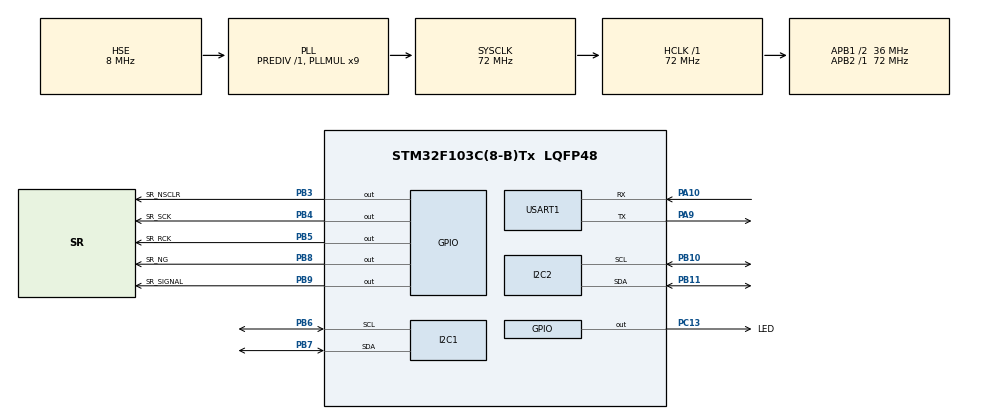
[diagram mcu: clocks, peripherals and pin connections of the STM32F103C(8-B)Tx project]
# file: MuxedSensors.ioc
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I2C2.I2C_Mode=I2C_Fast
Mcu.Family=STM32F1
Mcu.Name=STM32F103C(8-B)Tx
Mcu.Package=LQFP48
NVIC.PriorityGroup=NVIC_PRIORITYGROUP_4
PA10.Mode=Asynchronous
PA10.Signal=USART1_RX
PA13.Mode=Serial_Wire
PA13.Signal=SYS_JTMS-SWDIO
PA14.Mode=Serial_Wire
PA14.Signal=SYS_JTCK-SWCLK
PA9.Mode=Asynchronous
PA9.Signal=USART1_TX
PB10.Mode=I2C
PB10.Signal=I2C2_SCL
PB11.Mode=I2C
PB11.Signal=I2C2_SDA
PB3.GPIO_Label=SR_NSCLR
PB3.Signal=GPIO_Output
PB4.GPIO_Label=SR_SCK
PB4.Signal=GPIO_Output
PB5.GPIO_Label=SR_RCK
PB5.Signal=GPIO_Output
PB6.Mode=I2C
PB6.Signal=I2C1_SCL
PB7.Mode=I2C
PB7.Signal=I2C1_SDA
PB8.GPIO_Label=SR_NG
PB8.GPIO_Speed=GPIO_SPEED_FREQ_LOW
PB8.Signal=GPIO_Output
PB9.GPIO_Label=SR_SIGNAL
PB9.Signal=GPIO_Output
PC13-TAMPER-RTC.GPIO_Label=LED
PC13-TAMPER-RTC.Signal=GPIO_Output
PC14-OSC32_IN.Mode=LSE-External-Oscillator
PC14-OSC32_IN.Signal=RCC_OSC32_IN
PC15-OSC32_OUT.Mode=LSE-External-Oscillator
PC15-OSC32_OUT.Signal=RCC_OSC32_OUT
PD0-OSC_IN.Mode=HSE-External-Oscillator
PD0-OSC_IN.Signal=RCC_OSC_IN
PD1-OSC_OUT.Mode=HSE-External-Oscillator
PD1-OSC_OUT.Signal=RCC_OSC_OUT
ProjectManager.HeapSize=0x200
ProjectManager.StackSize=0x400
ProjectManager.TargetToolchain=TrueSTUDIO
RCC.AHBFreq_Value=72000000
RCC.APB1CLKDivider=RCC_HCLK_DIV2
RCC.APB1Freq_Value=36000000
RCC.APB1TimFreq_Value=72000000
RCC.APB2Freq_Value=72000000
RCC.APB2TimFreq_Value=72000000
RCC.HCLKFreq_Value=72000000
RCC.PLLMUL=RCC_PLL_MUL9
RCC.PLLSourceVirtual=RCC_PLLSOURCE_HSE
RCC.SYSCLKFreq_VALUE=72000000
RCC.SYSCLKSource=RCC_SYSCLKSOURCE_PLLCLK
RCC.USBFreq_Value=72000000
USART1.Parity=PARITY_EVEN
USART1.VirtualMode=VM_ASYNC
board=custom

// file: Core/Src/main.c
/* USER CODE BEGIN Header */
/**
  ******************************************************************************
  * @file           : main.c
  * @brief          : Main program body
  ******************************************************************************
  ** This notice applies to any and all portions of this file
  * that are not between comment pairs USER CODE BEGIN and
  * USER CODE END. Other portions of this file, whether
  * inserted by the user or by software development tools
  * are owned by their respective copyright owners.
  *
  * COPYRIGHT(c) 2019 STMicroelectronics
  *
  * Redistribution and use in source and binary forms, with or without modification,
  * are permitted provided that the following conditions are met:
  *   1. Redistributions of source code must retain the above copyright notice,
  *      this list of conditions and the following disclaimer.
  *   2. Redistributions in binary form must reproduce the above copyright notice,
  *      this list of conditions and the following disclaimer in the documentation
  *      and/or other materials provided with the distribution.
  *   3. Neither the name of STMicroelectronics nor the names of its contributors
  *      may be used to endorse or promote products derived from this software
  *      without specific prior written permission.
  *
  * THIS SOFTWARE IS PROVIDED BY THE COPYRIGHT HOLDERS AND CONTRIBUTORS "AS IS"
  * AND ANY EXPRESS OR IMPLIED WARRANTIES, INCLUDING, BUT NOT LIMITED TO, THE
  * IMPLIED WARRANTIES OF MERCHANTABILITY AND FITNESS FOR A PARTICULAR PURPOSE ARE
  * DISCLAIMED. IN NO EVENT SHALL THE COPYRIGHT HOLDER OR CONTRIBUTORS BE LIABLE
  * FOR ANY DIRECT, INDIRECT, INCIDENTAL, SPECIAL, EXEMPLARY, OR CONSEQUENTIAL
  * DAMAGES (INCLUDING, BUT NOT LIMITED TO, PROCUREMENT OF SUBSTITUTE GOODS OR
  * SERVICES; LOSS OF USE, DATA, OR PROFITS; OR BUSINESS INTERRUPTION) HOWEVER
  * CAUSED AND ON ANY THEORY OF LIABILITY, WHETHER IN CONTRACT, STRICT LIABILITY,
  * OR TORT (INCLUDING NEGLIGENCE OR OTHERWISE) ARISING IN ANY WAY OUT OF THE USE
  * OF THIS SOFTWARE, EVEN IF ADVISED OF THE POSSIBILITY OF SUCH DAMAGE.
  *
  ******************************************************************************
  */
/* USER CODE END Header */

#include "main.h"
#include "i2c.h"
#include "usart.h"
#include "gpio.h"

/* USER CODE BEGIN Includes */
#include "Magnet.h"
#include "MagConfig.h"
#include "magnetmath.h"
#include "linefollow.h"
/* USER CODE END Includes */

/* USER CODE BEGIN PV */
int strsum[6][20]; // array of the 20 most recent strength measurements
int k = 0; // counter
volatile float avgstr[6]; // the average magnetic field strength of the last 20 measurements
int table_index[6][2];
double Br = 0.75;
double magnet_height = 0.026;
double magnet_radius = 0.006;
double height_from_ground = 0.05;

double table[21][21][3];

int sensorcount = 6;

volatile double error_last = 0;
volatile double error_integ = 0;

double Kp = 0;
double Ki = 0;
double Kd = 0;
/* USER CODE END PV */

void SystemClock_Config(void);

int main(void)
{

  /* MCU Configuration--------------------------------------------------------*/

  /* Reset of all peripherals, Initializes the Flash interface and the Systick. */
  HAL_Init();

  /* Configure the system clock */
  SystemClock_Config();

  /* Initialize all configured peripherals */
  MX_GPIO_Init();
  MX_I2C2_Init();
  MX_USART1_UART_Init();
  MX_I2C1_Init();
  /* USER CODE BEGIN 2 */
  config();
  reset_background(field, bg, 100, sensorcount);
  CreateTable(table, height_from_ground, Br, magnet_radius, magnet_height);

  HAL_GPIO_WritePin(SR_NSCLR_GPIO_Port, SR_NSCLR_Pin, GPIO_PIN_SET);
  HAL_Delay(1);
  /* USER CODE END 2 */

  /* Infinite loop */
  while (1)
  {

	    /* USER CODE BEGIN 3 */
	  for(int i = 0; i < sensorcount; i++)
	  {
		  mag_read_value(field, i+1);
		  for(int j = 0; j < 3; j++)
		  {
		    if(field[i][j] > 65536 / 2) field[i][j] = field[i][j] - 65536; //by default, negative magnetic fields are represented as decreasing from maximum 16 bit number 65535
                                                                          //changes the representation of negative magnetic fields to negative values starting at zero
		    field[i][j] -= bg[i][j]; //accounts for the background magnetic fields
		  }
		  str[i] = make_unit_vectors(field[i], vect[i]); //creates array of directional unit vectors and outputs strength of magnetic field
		  strsum[i][k] = str[i]; //adds strength of magnetic field to array for average calculation
		  k++;
		  if(k >= 20) k = 0;
		  avgstr[i] = average(strsum[i], 20); //calculates the average of the most recent 20 field strength measurements
		  CompareSensorValue(Br, magnet_radius, magnet_height, field[i], table_index[i], table);
	  }
	  HAL_Delay(1);
  }
  /* USER CODE END 3 */
}

void SystemClock_Config(void)
{
  RCC_OscInitTypeDef RCC_OscInitStruct = {0};
  RCC_ClkInitTypeDef RCC_ClkInitStruct = {0};

  /**Initializes the CPU, AHB and APB busses clocks
  */
  RCC_OscInitStruct.OscillatorType = RCC_OSCILLATORTYPE_HSE;
  RCC_OscInitStruct.HSEState = RCC_HSE_ON;
  RCC_OscInitStruct.HSEPredivValue = RCC_HSE_PREDIV_DIV1;
  RCC_OscInitStruct.HSIState = RCC_HSI_ON;
  RCC_OscInitStruct.PLL.PLLState = RCC_PLL_ON;
  RCC_OscInitStruct.PLL.PLLSource = RCC_PLLSOURCE_HSE;
  RCC_OscInitStruct.PLL.PLLMUL = RCC_PLL_MUL9;
  if (HAL_RCC_OscConfig(&RCC_OscInitStruct) != HAL_OK)
  {
    Error_Handler();
  }
  /**Initializes the CPU, AHB and APB busses clocks
  */
  RCC_ClkInitStruct.ClockType = RCC_CLOCKTYPE_HCLK|RCC_CLOCKTYPE_SYSCLK
                              |RCC_CLOCKTYPE_PCLK1|RCC_CLOCKTYPE_PCLK2;
  RCC_ClkInitStruct.SYSCLKSource = RCC_SYSCLKSOURCE_PLLCLK;
  RCC_ClkInitStruct.AHBCLKDivider = RCC_SYSCLK_DIV1;
  RCC_ClkInitStruct.APB1CLKDivider = RCC_HCLK_DIV2;
  RCC_ClkInitStruct.APB2CLKDivider = RCC_HCLK_DIV1;

  if (HAL_RCC_ClockConfig(&RCC_ClkInitStruct, FLASH_LATENCY_2) != HAL_OK)
  {
    Error_Handler();
  }
}

void Error_Handler(void)
{
}

/************************ (C) COPYRIGHT STMicroelectronics *****END OF FILE****/
